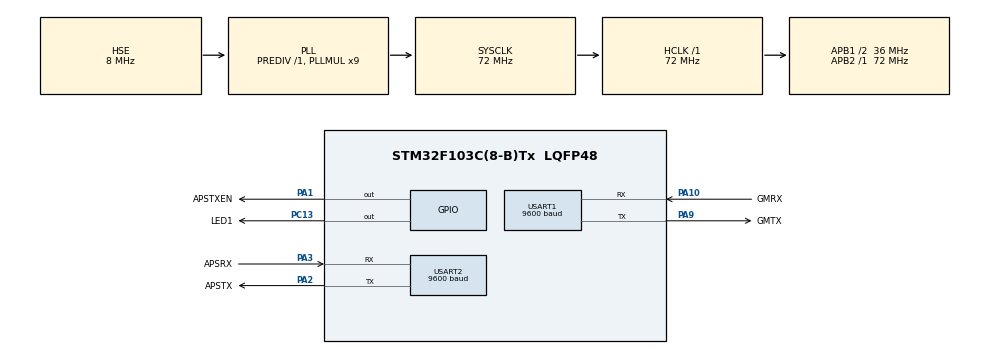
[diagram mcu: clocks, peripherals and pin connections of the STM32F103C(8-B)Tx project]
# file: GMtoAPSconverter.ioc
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Mcu.Family=STM32F1
Mcu.Name=STM32F103C(8-B)Tx
Mcu.Package=LQFP48
NVIC.PriorityGroup=NVIC_PRIORITYGROUP_4
NVIC.USART1_IRQn=true\:0\:0\:false\:false\:true\:true\:true\:true
NVIC.USART2_IRQn=true\:0\:0\:false\:false\:true\:true\:true\:true
PA1.GPIO_Label=APSTXEN
PA1.GPIO_ModeDefaultOutputPP=GPIO_MODE_OUTPUT_PP
PA1.GPIO_PuPd=GPIO_NOPULL
PA1.PinState=GPIO_PIN_RESET
PA1.Signal=GPIO_Output
PA10.GPIO_Label=GMRX
PA10.Mode=Asynchronous
PA10.Signal=USART1_RX
PA13.Mode=Serial_Wire
PA13.Signal=SYS_JTMS-SWDIO
PA14.Mode=Serial_Wire
PA14.Signal=SYS_JTCK-SWCLK
PA2.GPIO_Label=APSTX
PA2.Mode=Asynchronous
PA2.Signal=USART2_TX
PA3.GPIO_Label=APSRX
PA3.Mode=Asynchronous
PA3.Signal=USART2_RX
PA9.GPIO_Label=GMTX
PA9.Mode=Asynchronous
PA9.Signal=USART1_TX
PC13-TAMPER-RTC.GPIO_Label=LED1
PC13-TAMPER-RTC.Signal=GPIO_Output
PC14-OSC32_IN.Mode=LSE-External-Oscillator
PC14-OSC32_IN.Signal=RCC_OSC32_IN
PC15-OSC32_OUT.Mode=LSE-External-Oscillator
PC15-OSC32_OUT.Signal=RCC_OSC32_OUT
PD0-OSC_IN.Mode=HSE-External-Oscillator
PD0-OSC_IN.Signal=RCC_OSC_IN
PD1-OSC_OUT.Mode=HSE-External-Oscillator
PD1-OSC_OUT.Signal=RCC_OSC_OUT
ProjectManager.HeapSize=0x200
ProjectManager.StackSize=0x400
ProjectManager.TargetToolchain=STM32CubeIDE
RCC.AHBFreq_Value=72000000
RCC.APB1CLKDivider=RCC_HCLK_DIV2
RCC.APB1Freq_Value=36000000
RCC.APB1TimFreq_Value=72000000
RCC.APB2Freq_Value=72000000
RCC.APB2TimFreq_Value=72000000
RCC.HCLKFreq_Value=72000000
RCC.PLLMUL=RCC_PLL_MUL9
RCC.PLLSourceVirtual=RCC_PLLSOURCE_HSE
RCC.SYSCLKFreq_VALUE=72000000
RCC.SYSCLKSource=RCC_SYSCLKSOURCE_PLLCLK
RCC.USBFreq_Value=72000000
USART1.BaudRate=9600
USART1.VirtualMode=VM_ASYNC
USART2.BaudRate=9600
USART2.VirtualMode=VM_ASYNC
board=custom

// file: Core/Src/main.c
/* USER CODE BEGIN Header */
/**
  ******************************************************************************
  * @file           : main.c
  * @brief          : Main program body
  ******************************************************************************
  * @attention
  *
  * Copyright (c) 2025 STMicroelectronics.
  * All rights reserved.
  *
  * This software is licensed under terms that can be found in the LICENSE file
  * in the root directory of this software component.
  * If no LICENSE file comes with this software, it is provided AS-IS.
  *
  ******************************************************************************
  */
/* USER CODE END Header */
#include "main.h"

/* USER CODE BEGIN Includes */
#include "RingBuffer.h"
/* USER CODE END Includes */

/* USER CODE BEGIN PM */

RINGBUF_t APS_rb;
RINGBUF_t GM_rb;
uint8_t APS_RX_buf[1024] = {0};
uint8_t GM_RX_buf[1024] = {0};
uint8_t tmp;
uint8_t dataReceived=0;
uint8_t dataTransmitted=1;

/* USER CODE END PM */

UART_HandleTypeDef huart1;
UART_HandleTypeDef huart2;

void SystemClock_Config(void);
static void MX_GPIO_Init(void);
static void MX_USART1_UART_Init(void);
static void MX_USART2_UART_Init(void);

int main(void)
{

  /* MCU Configuration--------------------------------------------------------*/

  /* Reset of all peripherals, Initializes the Flash interface and the Systick. */
  HAL_Init();

  /* USER CODE BEGIN Init */

  RingBuf_Init(APS_RX_buf, 1024, 1, &APS_rb);
  RingBuf_Init(GM_RX_buf, 1024, 1, &GM_rb);

  /* USER CODE END Init */

  /* Configure the system clock */
  SystemClock_Config();

  /* Initialize all configured peripherals */
  MX_GPIO_Init();
  MX_USART1_UART_Init();
  MX_USART2_UART_Init();

  /* Infinite loop */
  /* USER CODE BEGIN WHILE */

  HAL_UART_Receive_IT (&UART_GM, &tmp, 1);
  HAL_UART_Receive_IT (&UART_APS, &tmp, 1);

  while (1)
  {
    uint16_t GM_buflen;
    uint16_t APS_buflen;
    uint8_t APS_message[100];
    uint8_t GM_message[100];
    RingBuf_Available(&APS_buflen, &APS_rb);
    RingBuf_Available(&GM_buflen, &GM_rb);

    if(GM_buflen >= 10)
    {
      RingBuf_DataRead(GM_message, GM_buflen, &GM_rb);
      HAL_GPIO_WritePin(APSTXEN_GPIO_Port, APSTXEN_Pin, GPIO_PIN_SET);
      HAL_UART_Transmit_IT(&UART_APS, GM_message, GM_buflen);
    }

    if(APS_buflen >= 1)
    {
      RingBuf_DataRead(APS_message, APS_buflen, &APS_rb);
      for(int i = 0; i < APS_buflen; i++)
      {
        if(APS_message[i] == 0x80)
        {
          HAL_UART_Transmit_IT(&UART_GM, (APS_message + i), 1);
        }
      }
    }

    /* USER CODE END WHILE */

  }
}

void SystemClock_Config(void)
{
  RCC_OscInitTypeDef RCC_OscInitStruct = {0};
  RCC_ClkInitTypeDef RCC_ClkInitStruct = {0};

  /** Initializes the RCC Oscillators according to the specified parameters
  * in the RCC_OscInitTypeDef structure.
  */
  RCC_OscInitStruct.OscillatorType = RCC_OSCILLATORTYPE_HSE;
  RCC_OscInitStruct.HSEState = RCC_HSE_ON;
  RCC_OscInitStruct.HSEPredivValue = RCC_HSE_PREDIV_DIV1;
  RCC_OscInitStruct.HSIState = RCC_HSI_ON;
  RCC_OscInitStruct.PLL.PLLState = RCC_PLL_ON;
  RCC_OscInitStruct.PLL.PLLSource = RCC_PLLSOURCE_HSE;
  RCC_OscInitStruct.PLL.PLLMUL = RCC_PLL_MUL9;
  if (HAL_RCC_OscConfig(&RCC_OscInitStruct) != HAL_OK)
  {
    Error_Handler();
  }

  /** Initializes the CPU, AHB and APB buses clocks
  */
  RCC_ClkInitStruct.ClockType = RCC_CLOCKTYPE_HCLK|RCC_CLOCKTYPE_SYSCLK
                              |RCC_CLOCKTYPE_PCLK1|RCC_CLOCKTYPE_PCLK2;
  RCC_ClkInitStruct.SYSCLKSource = RCC_SYSCLKSOURCE_PLLCLK;
  RCC_ClkInitStruct.AHBCLKDivider = RCC_SYSCLK_DIV1;
  RCC_ClkInitStruct.APB1CLKDivider = RCC_HCLK_DIV2;
  RCC_ClkInitStruct.APB2CLKDivider = RCC_HCLK_DIV1;

  if (HAL_RCC_ClockConfig(&RCC_ClkInitStruct, FLASH_LATENCY_2) != HAL_OK)
  {
    Error_Handler();
  }
}

static void MX_USART1_UART_Init(void)
{

  huart1.Instance = USART1;
  huart1.Init.BaudRate = 9600;
  huart1.Init.WordLength = UART_WORDLENGTH_8B;
  huart1.Init.StopBits = UART_STOPBITS_1;
  huart1.Init.Parity = UART_PARITY_NONE;
  huart1.Init.Mode = UART_MODE_TX_RX;
  huart1.Init.HwFlowCtl = UART_HWCONTROL_NONE;
  huart1.Init.OverSampling = UART_OVERSAMPLING_16;
  if (HAL_UART_Init(&huart1) != HAL_OK)
  {
    Error_Handler();
  }

}

static void MX_USART2_UART_Init(void)
{

  huart2.Instance = USART2;
  huart2.Init.BaudRate = 9600;
  huart2.Init.WordLength = UART_WORDLENGTH_8B;
  huart2.Init.StopBits = UART_STOPBITS_1;
  huart2.Init.Parity = UART_PARITY_NONE;
  huart2.Init.Mode = UART_MODE_TX_RX;
  huart2.Init.HwFlowCtl = UART_HWCONTROL_NONE;
  huart2.Init.OverSampling = UART_OVERSAMPLING_16;
  if (HAL_UART_Init(&huart2) != HAL_OK)
  {
    Error_Handler();
  }

}

static void MX_GPIO_Init(void)
{
  GPIO_InitTypeDef GPIO_InitStruct = {0};

  /* GPIO Ports Clock Enable */
  __HAL_RCC_GPIOC_CLK_ENABLE();
  __HAL_RCC_GPIOD_CLK_ENABLE();
  __HAL_RCC_GPIOA_CLK_ENABLE();

  /*Configure GPIO pin Output Level */
  HAL_GPIO_WritePin(LED1_GPIO_Port, LED1_Pin, GPIO_PIN_RESET);

  /*Configure GPIO pin Output Level */
  HAL_GPIO_WritePin(APSTXEN_GPIO_Port, APSTXEN_Pin, GPIO_PIN_RESET);

  /*Configure GPIO pin : LED1_Pin */
  GPIO_InitStruct.Pin = LED1_Pin;
  GPIO_InitStruct.Mode = GPIO_MODE_OUTPUT_PP;
  GPIO_InitStruct.Pull = GPIO_NOPULL;
  GPIO_InitStruct.Speed = GPIO_SPEED_FREQ_LOW;
  HAL_GPIO_Init(LED1_GPIO_Port, &GPIO_InitStruct);

  /*Configure GPIO pin : APSTXEN_Pin */
  GPIO_InitStruct.Pin = APSTXEN_Pin;
  GPIO_InitStruct.Mode = GPIO_MODE_OUTPUT_PP;
  GPIO_InitStruct.Pull = GPIO_NOPULL;
  GPIO_InitStruct.Speed = GPIO_SPEED_FREQ_LOW;
  HAL_GPIO_Init(APSTXEN_GPIO_Port, &GPIO_InitStruct);

}

/* USER CODE BEGIN 4 */
/*---------------------------------------------------------------------------------------------------------------------------------------------------------------------------------------*/
void HAL_UART_RxCpltCallback(UART_HandleTypeDef *huart)
{

  if(huart == &UART_APS)
  {
    RingBuf_BytePut(tmp, &APS_rb);
    HAL_UART_Receive_IT (&UART_APS, &tmp, 1);
  }
  if(huart == &UART_GM)
  {
    RingBuf_BytePut(tmp, &GM_rb);
    HAL_UART_Receive_IT (&UART_GM, &tmp, 1);
  }
}

void HAL_UART_TxCpltCallback(UART_HandleTypeDef *huart)
{

  if(huart == &UART_APS)
  {
    HAL_GPIO_WritePin(APSTXEN_GPIO_Port, APSTXEN_Pin, GPIO_PIN_RESET);
  }
  if(huart == &UART_GM)
  {

  }
}
/*---------------------------------------------------------------------------------------------------------------------------------------------------------------------------------------*/
/* USER CODE END 4 */

void Error_Handler(void)
{
  __disable_irq();
  while (1)
  {
  }
}
